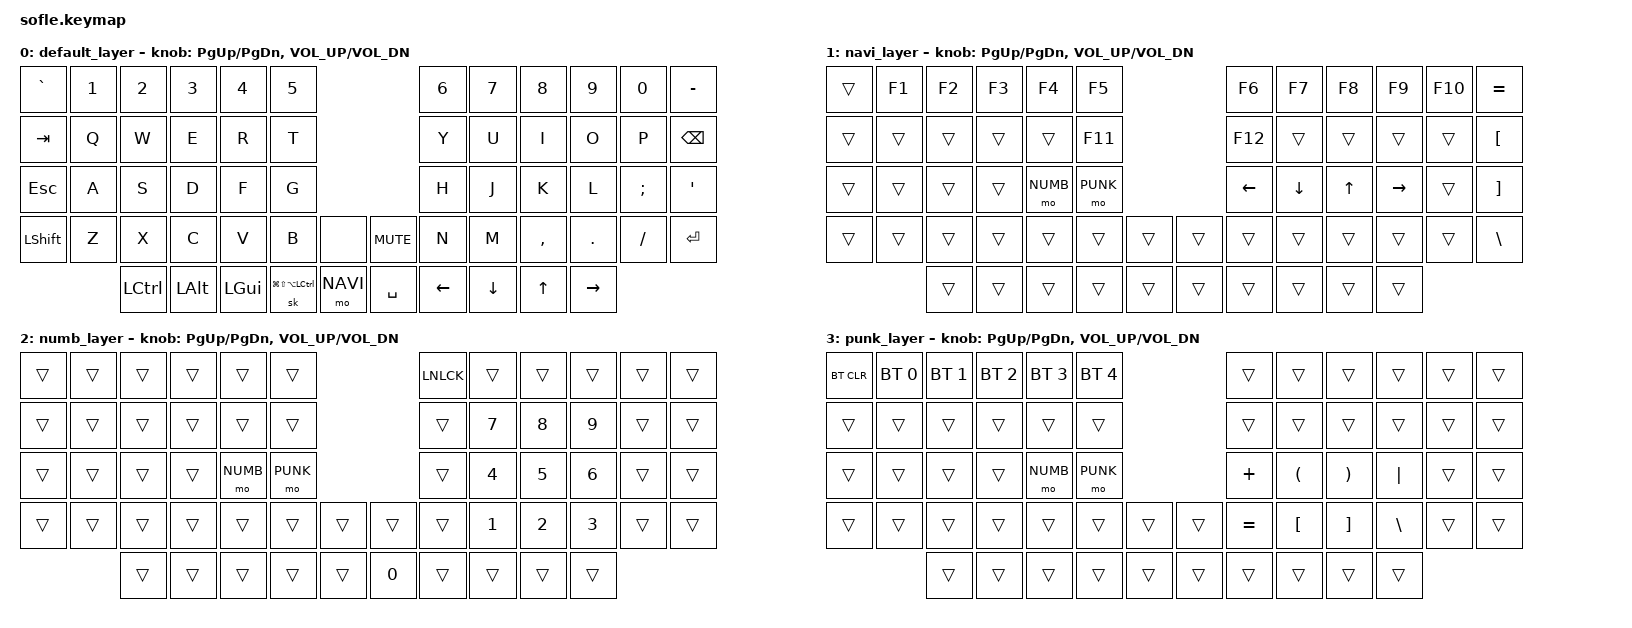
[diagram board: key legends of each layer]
/*
 * Copyright (c) 2020 The ZMK Contributors
 *
 * SPDX-License-Identifier: MIT
 */

#include <behaviors.dtsi>
#include <dt-bindings/zmk/keys.h>
#include <dt-bindings/zmk/bt.h>

#define DEFAULT 0
#define NAVI    1
#define NUMB    2
#define PUNK    3

/ {
    keymap {
        compatible = "zmk,keymap";

        default_layer {
// ------------------------------------------------------------------------------------------------------------
// |  `    |  1  |  2  |  3   |  4   |  5   |                   |  6   |  7    |  8    |  9   |   0   |   =   |
// |  TAB  |  Q  |  W  |  E   |  R   |  T   |                   |  Y   |  U    |  I    |  O   |   P   | BKSPC |
// |  ESC  |  A  |  S  |  D   |  F   |  G   |                   |  H   |  J    |  K    |  L   |   ;   |   '   |
// | SHIFT |  Z  |  X  |  C   |  V   |  B   |        |  |  MUTE |  N   |  M    |  ,    |  .   |   /   | ENTER |
//               | CRTL | ALT  | GUI | HYPER|  NAVI  |  | SPACE | LEFT | DOWN  |   UP  |RIGHT |
            bindings = <
&kp GRAVE   &kp N1   &kp N2   &kp N3   &kp N4    &kp N5                                         &kp N6    &kp N7    &kp N8      &kp N9     &kp N0     &kp MINUS
&kp TAB     &kp Q    &kp W    &kp E    &kp R     &kp T                                          &kp Y     &kp U     &kp I       &kp O      &kp P      &kp BSPC
&kp ESC     &kp A    &kp S    &kp D    &kp F     &kp G                                          &kp H     &kp J     &kp K       &kp L      &kp SEMI   &kp SQT
&kp LSHFT   &kp Z    &kp X    &kp C    &kp V     &kp B                  &none      &kp C_MUTE   &kp N     &kp M     &kp COMMA   &kp DOT    &kp FSLH   &kp ENTER
                     &kp LCTRL &kp LALT &kp LGUI &sk LG(LS(LA(LCTRL)))  &mo NAVI   &kp SPACE    &kp LEFT  &kp DOWN  &kp UP      &kp RIGHT
            >;

            sensor-bindings = <&inc_dec_kp PG_UP PG_DN &inc_dec_kp K_VOL_UP K_VOL_DN>;
        };

        navi_layer {
// TODO: Some binds are waiting for shifted keycode support.
// ------------------------------------------------------------------------------------------------------------
// |       |  F1 |  F2 |  F3  |  F4  |  F5  |                   |  F6  |  F7   |  F8   |  F9  |  F10  |  =   |
// |       |     |     |      |      | F11  |                   |  F12 |       |       |      |       |  [   |
// |       |     |     |      | NUMB | PUNK |                   | LEFT |  DOWN |  UP   | RIGHT|       |  ]   |
// |       |     |     |      |      |      |        |  |       |      |       |       |      |       |  \   |
//               |     |      |      |      |        |  |       |      |       |       |      |
            bindings = <
&trans    &kp F1    &kp F2    &kp F3      &kp F4    &kp F5                      &kp F6     &kp F7    &kp F8     &kp F9     &kp F10   &kp EQUAL
&trans    &trans    &trans    &trans      &trans    &kp F11                     &kp F12    &trans    &trans     &trans     &trans    &kp LBKT
&trans    &trans    &trans    &trans      &mo NUMB  &mo PUNK                    &kp LEFT   &kp DOWN  &kp UP     &kp RIGHT  &trans    &kp RBKT
&trans    &trans    &trans    &trans      &trans    &trans    &trans   &trans   &trans     &trans    &trans     &trans     &trans    &kp BSLH
                    &trans    &trans      &trans    &trans    &trans   &trans   &trans    &trans     &trans     &trans
            >;

            sensor-bindings = <&inc_dec_kp PG_UP PG_DN &inc_dec_kp K_VOL_UP K_VOL_DN>;
        };

        numb_layer {
// ------------------------------------------------------------------------------------------------------------
// |     |      |      |       |       |      |                | NLCK |      |       |      |       |       |
// |     |      |      |       |       |      |                |      |   7  |   8   |   9  |       |       |
// |     |      |      |       |  NUMB | PUNK |                |      |   4  |   5   |   6  |       |       |
// |     |      |      |       |       |      |      |  |      |      |   1  |   2   |   3  |       |       |
//              |      |       |       |      |      |  |      |   0  |      |       |      |
            bindings = <
&trans     &trans       &trans       &trans       &trans       &trans                        &kp LNLCK    &trans      &trans     &trans    &trans    &trans
&trans     &trans       &trans       &trans       &trans       &trans                        &trans       &kp N7      &kp N8     &kp N9    &trans    &trans
&trans     &trans       &trans       &trans       &mo NUMB     &mo PUNK                      &trans       &kp N4      &kp N5     &kp N6    &trans    &trans 
&trans     &trans       &trans       &trans       &trans       &trans     &trans   &trans    &trans       &kp N1      &kp N2     &kp N3    &trans    &trans
                        &trans       &trans       &trans       &trans     &trans   &kp N0    &trans       &trans      &trans     &trans
            >;

            sensor-bindings = <&inc_dec_kp PG_UP PG_DN &inc_dec_kp K_VOL_UP K_VOL_DN>;
        };

        punk_layer {
// ------------------------------------------------------------------------------------------------------------
// |BTCLR|  BT1 |  BT2 |  BT3  |  BT4  |  BT5 |                |      |      |       |      |       |       |
// |     |      |      |       |       |      |                |      |      |       |      |       |       |
// |     |      |      |       |  NUMB | PUNK |                |  +   |   {  |   }   |   |  |       |       |
// |     |      |      |       |       |      |      |  |      |  =   |   [  |   ]   |   \  |       |       |
//              |      |       |       |      |      |  |      |      |      |       |      |
            bindings = <
&bt BT_CLR &bt BT_SEL 0 &bt BT_SEL 1 &bt BT_SEL 2 &bt BT_SEL 3 &bt BT_SEL 4                  &trans       &trans      &trans       &trans      &trans    &trans
&trans     &trans       &trans       &trans       &trans       &trans                        &trans       &trans      &trans       &trans      &trans    &trans
&trans     &trans       &trans       &trans       &mo NUMB     &mo PUNK                      &kp PLUS     &kp LPAR    &kp RPAR     &kp PIPE    &trans    &trans 
&trans     &trans       &trans       &trans       &trans       &trans     &trans   &trans    &kp EQUAL    &kp LBKT    &kp RBKT     &kp BSLH    &trans    &trans
                        &trans       &trans       &trans       &trans     &trans   &trans    &trans       &trans      &trans       &trans
            >;

            sensor-bindings = <&inc_dec_kp PG_UP PG_DN &inc_dec_kp K_VOL_UP K_VOL_DN>;
        };
    };
};
